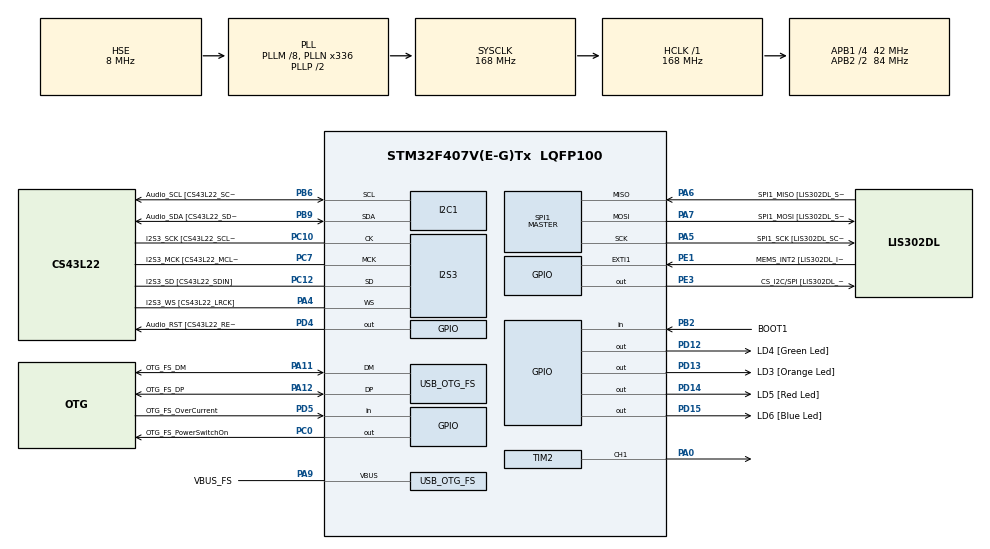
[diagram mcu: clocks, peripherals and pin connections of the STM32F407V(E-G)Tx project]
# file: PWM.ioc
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I2S3.AudioFreq-Half_Duplex_Master=I2S_AUDIOFREQ_96K
I2S3.ErrorAudioFreq=-2.34 %
I2S3.ErrorAudioFreq-Half_Duplex_Master=0.8 %
I2S3.FullDuplexMode=I2S_FULLDUPLEXMODE_DISABLE
I2S3.Instance=SPI$Index
I2S3.RealAudioFreq=93.75 KHz
I2S3.RealAudioFreq-Half_Duplex_Master=96.774 KHz
I2S3.VirtualMode=I2S_MODE_MASTER
Mcu.Family=STM32F4
Mcu.Name=STM32F407V(E-G)Tx
Mcu.Package=LQFP100
NVIC.OTG_FS_IRQn=true\:0\:0\:false\:false\:true\:true\:true\:true
NVIC.PriorityGroup=NVIC_PRIORITYGROUP_0
PA0-WKUP.Signal=S_TIM2_CH1_ETR
PA10.GPIO_Label=OTG_FS_ID
PA10.GPIO_Mode=GPIO_MODE_AF_PP
PA10.GPIO_PuPd=GPIO_NOPULL
PA10.GPIO_Speed=GPIO_SPEED_FREQ_LOW
PA10.Signal=USB_OTG_FS_ID
PA11.GPIO_Label=OTG_FS_DM
PA11.GPIO_Mode=GPIO_MODE_AF_PP
PA11.GPIO_PuPd=GPIO_NOPULL
PA11.GPIO_Speed=GPIO_SPEED_FREQ_LOW
PA11.Mode=Host_Only
PA11.Signal=USB_OTG_FS_DM
PA12.GPIO_Label=OTG_FS_DP
PA12.GPIO_Mode=GPIO_MODE_AF_PP
PA12.GPIO_PuPd=GPIO_NOPULL
PA12.GPIO_Speed=GPIO_SPEED_FREQ_LOW
PA12.Mode=Host_Only
PA12.Signal=USB_OTG_FS_DP
PA13.GPIO_Label=SWDIO
PA13.Mode=Serial_Wire
PA13.Signal=SYS_JTMS-SWDIO
PA14.GPIO_Label=SWCLK
PA14.Mode=Serial_Wire
PA14.Signal=SYS_JTCK-SWCLK
PA4.GPIO_Label=I2S3_WS [CS43L22_LRCK]
PA4.GPIO_Mode=GPIO_MODE_AF_PP
PA4.GPIO_PuPd=GPIO_NOPULL
PA4.GPIO_Speed=GPIO_SPEED_FREQ_LOW
PA4.Mode=Half_Duplex_Master
PA4.Signal=I2S3_WS
PA5.GPIO_Label=SPI1_SCK [LIS302DL_SCL/SPC]
PA5.GPIO_Mode=GPIO_MODE_AF_PP
PA5.GPIO_PuPd=GPIO_NOPULL
PA5.GPIO_Speed=GPIO_SPEED_FREQ_LOW
PA5.Mode=Full_Duplex_Master
PA5.Signal=SPI1_SCK
PA6.GPIO_Label=SPI1_MISO [LIS302DL_SDO]
PA6.GPIO_Mode=GPIO_MODE_AF_PP
PA6.GPIO_PuPd=GPIO_NOPULL
PA6.GPIO_Speed=GPIO_SPEED_FREQ_LOW
PA6.Mode=Full_Duplex_Master
PA6.Signal=SPI1_MISO
PA7.GPIO_Label=SPI1_MOSI [LIS302DL_SDA/SDI/SDO]
PA7.GPIO_Mode=GPIO_MODE_AF_PP
PA7.GPIO_PuPd=GPIO_NOPULL
PA7.GPIO_Speed=GPIO_SPEED_FREQ_LOW
PA7.Mode=Full_Duplex_Master
PA7.Signal=SPI1_MOSI
PA9.GPIO_Label=VBUS_FS
PA9.GPIO_Mode=GPIO_MODE_INPUT
PA9.GPIO_PuPd=GPIO_NOPULL
PA9.Mode=Activate_VBUS
PA9.Signal=USB_OTG_FS_VBUS
PB10.GPIO_Label=CLK_IN [MP45DT02_CLK]
PB10.GPIO_Mode=GPIO_MODE_AF_PP
PB10.GPIO_PuPd=GPIO_NOPULL
PB10.GPIO_Speed=GPIO_SPEED_FREQ_LOW
PB10.Signal=I2S2_CK
PB2.GPIO_Label=BOOT1
PB2.GPIO_Mode=GPIO_MODE_INPUT
PB2.GPIO_PuPd=GPIO_NOPULL
PB2.Signal=GPIO_Input
PB3.GPIO_Label=SWO
PB3.Signal=SYS_JTDO-SWO
PB6.GPIO_Label=Audio_SCL [CS43L22_SCL]
PB6.GPIO_Mode=GPIO_MODE_AF_OD
PB6.GPIO_Pu=GPIO_PULLUP
PB6.GPIO_PuPd=GPIO_NOPULL
PB6.GPIO_Speed=GPIO_SPEED_FREQ_LOW
PB6.Mode=I2C
PB6.Signal=I2C1_SCL
PB9.GPIO_Label=Audio_SDA [CS43L22_SDA]
PB9.GPIO_Mode=GPIO_MODE_AF_OD
PB9.GPIO_Pu=GPIO_PULLUP
PB9.GPIO_PuPd=GPIO_NOPULL
PB9.GPIO_Speed=GPIO_SPEED_FREQ_LOW
PB9.Mode=I2C
PB9.Signal=I2C1_SDA
PC0.GPIO_Label=OTG_FS_PowerSwitchOn
PC0.GPIO_PuPd=GPIO_NOPULL
PC0.GPIO_Speed=GPIO_SPEED_FREQ_LOW
PC0.PinState=GPIO_PIN_SET
PC0.Signal=GPIO_Output
PC10.GPIO_Label=I2S3_SCK [CS43L22_SCLK]
PC10.GPIO_Mode=GPIO_MODE_AF_PP
PC10.GPIO_PuPd=GPIO_NOPULL
PC10.GPIO_Speed=GPIO_SPEED_FREQ_LOW
PC10.Mode=Half_Duplex_Master
PC10.Signal=I2S3_CK
PC12.GPIO_Label=I2S3_SD [CS43L22_SDIN]
PC12.GPIO_Mode=GPIO_MODE_AF_PP
PC12.GPIO_PuPd=GPIO_NOPULL
PC12.GPIO_Speed=GPIO_SPEED_FREQ_LOW
PC12.Mode=Half_Duplex_Master
PC12.Signal=I2S3_SD
PC14-OSC32_IN.GPIO_Label=PC14-OSC32_IN
PC14-OSC32_IN.Mode=LSE-External-Oscillator
PC14-OSC32_IN.Signal=RCC_OSC32_IN
PC15-OSC32_OUT.GPIO_Label=PC15-OSC32_OUT
PC15-OSC32_OUT.Mode=LSE-External-Oscillator
PC15-OSC32_OUT.Signal=RCC_OSC32_OUT
PC3.GPIO_Label=PDM_OUT [MP45DT02_DOUT]
PC3.GPIO_Mode=GPIO_MODE_AF_PP
PC3.GPIO_PuPd=GPIO_NOPULL
PC3.GPIO_Speed=GPIO_SPEED_FREQ_LOW
PC3.Signal=I2S2_SD
PC7.GPIO_Label=I2S3_MCK [CS43L22_MCLK]
PC7.GPIO_Mode=GPIO_MODE_AF_PP
PC7.GPIO_PuPd=GPIO_NOPULL
PC7.GPIO_Speed=GPIO_SPEED_FREQ_LOW
PC7.Mode=Master_Clock_Activated
PC7.Signal=I2S3_MCK
PD12.GPIO_Label=LD4 [Green Led]
PD12.GPIO_PuPd=GPIO_NOPULL
PD12.GPIO_Speed=GPIO_SPEED_FREQ_LOW
PD12.Signal=GPIO_Output
PD13.GPIO_Label=LD3 [Orange Led]
PD13.GPIO_PuPd=GPIO_NOPULL
PD13.GPIO_Speed=GPIO_SPEED_FREQ_LOW
PD13.Signal=GPIO_Output
PD14.GPIO_Label=LD5 [Red Led]
PD14.GPIO_PuPd=GPIO_NOPULL
PD14.GPIO_Speed=GPIO_SPEED_FREQ_LOW
PD14.Signal=GPIO_Output
PD15.GPIO_Label=LD6 [Blue Led]
PD15.GPIO_PuPd=GPIO_NOPULL
PD15.GPIO_Speed=GPIO_SPEED_FREQ_LOW
PD15.Signal=GPIO_Output
PD4.GPIO_Label=Audio_RST [CS43L22_RESET]
PD4.GPIO_PuPd=GPIO_NOPULL
PD4.GPIO_Speed=GPIO_SPEED_FREQ_LOW
PD4.Signal=GPIO_Output
PD5.GPIO_Label=OTG_FS_OverCurrent
PD5.GPIO_Mode=GPIO_MODE_INPUT
PD5.GPIO_PuPd=GPIO_NOPULL
PD5.Signal=GPIO_Input
PE1.GPIO_Label=MEMS_INT2 [LIS302DL_INT2]
PE1.GPIO_ModeDefaultEXTI=GPIO_MODE_EVT_RISING
PE1.GPIO_PuPd=GPIO_NOPULL
PE1.Signal=GPXTI1
PE3.GPIO_Label=CS_I2C/SPI [LIS302DL_CS_I2C/SPI]
PE3.GPIO_PuPd=GPIO_NOPULL
PE3.GPIO_Speed=GPIO_SPEED_FREQ_LOW
PE3.Signal=GPIO_Output
PH0-OSC_IN.GPIO_Label=PH0-OSC_IN
PH0-OSC_IN.Mode=HSE-External-Oscillator
PH0-OSC_IN.Signal=RCC_OSC_IN
PH1-OSC_OUT.GPIO_Label=PH1-OSC_OUT
PH1-OSC_OUT.Mode=HSE-External-Oscillator
PH1-OSC_OUT.Signal=RCC_OSC_OUT
ProjectManager.HeapSize=0x200
ProjectManager.StackSize=0x400
ProjectManager.TargetToolchain=STM32CubeIDE
RCC.48MHZClocksFreq_Value=48000000
RCC.AHBFreq_Value=168000000
RCC.APB1CLKDivider=RCC_HCLK_DIV4
RCC.APB1Freq_Value=42000000
RCC.APB1TimFreq_Value=84000000
RCC.APB2CLKDivider=RCC_HCLK_DIV2
RCC.APB2Freq_Value=84000000
RCC.APB2TimFreq_Value=168000000
RCC.CortexFreq_Value=168000000
RCC.HCLKFreq_Value=168000000
RCC.HSE_VALUE=8000000
RCC.HSI_VALUE=16000000
RCC.PLLM=8
RCC.PLLN=336
RCC.PLLQ=7
RCC.SYSCLKFreq_VALUE=168000000
RCC.SYSCLKSource=RCC_SYSCLKSOURCE_PLLCLK
RCC.VCOOutputFreq_Value=336000000
SH.S_TIM2_CH1_ETR.0=TIM2_CH1,PWM Generation1 CH1
SPI1.BaudRatePrescaler-Full_Duplex_Master=SPI_BAUDRATEPRESCALER_2
SPI1.CalculateBaudRate-Full_Duplex_Master=42.0 MBits/s
SPI1.Direction=SPI_DIRECTION_2LINES
SPI1.Mode=SPI_MODE_MASTER
SPI1.Mode-Full_Duplex_Master=SPI_MODE_MASTER
SPI1.VirtualType=VM_MASTER
TIM2.AutoReloadPreload=TIM_AUTORELOAD_PRELOAD_ENABLE
TIM2.Channel-PWM\ Generation1\ CH1=TIM_CHANNEL_1
TIM2.Period=999
TIM2.Prescaler=83
USB_HOST.BSP.number=1
USB_HOST.USBH_HandleTypeDef-CDC_FS=hUsbHostFS
USB_HOST.VirtualModeFS=Cdc
USB_HOST0.BSP.STBoard=false
USB_HOST0.BSP.api=Unknown
USB_HOST0.BSP.instance=PC0
USB_HOST0.BSP.ip=GPIO
USB_HOST0.BSP.mode=Output
USB_HOST0.BSP.name=Drive_VBUS_FS
USB_HOST0.BSP.solution=PC0
USB_OTG_FS.VirtualMode=Host_Only
USB_OTG_FS.phy_itface=HCD_PHY_EMBEDDED
VP_TIM2_VS_ClockSourceINT.Mode=Internal
VP_USB_HOST_VS_USB_HOST_CDC_FS.Mode=CDC_FS
board=STM32F407G-DISC1

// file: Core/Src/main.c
/* USER CODE BEGIN Header */
/**
  ******************************************************************************
  * @file           : main.c
  * @brief          : Main program body
  ******************************************************************************
  * @attention
  *
  * Copyright (c) 2025 STMicroelectronics.
  * All rights reserved.
  *
  * This software is licensed under terms that can be found in the LICENSE file
  * in the root directory of this software component.
  * If no LICENSE file comes with this software, it is provided AS-IS.
  *
  ******************************************************************************
  */
/* USER CODE END Header */
#include "main.h"
#include "usb_host.h"

I2C_HandleTypeDef hi2c1;

I2S_HandleTypeDef hi2s3;

SPI_HandleTypeDef hspi1;

TIM_HandleTypeDef htim2;

void SystemClock_Config(void);
static void MX_GPIO_Init(void);
static void MX_I2C1_Init(void);
static void MX_I2S3_Init(void);
static void MX_SPI1_Init(void);
static void MX_TIM2_Init(void);
void MX_USB_HOST_Process(void);

int main(void)
{

  /* MCU Configuration--------------------------------------------------------*/

  /* Reset of all peripherals, Initializes the Flash interface and the Systick. */
  HAL_Init();

  /* Configure the system clock */
  SystemClock_Config();

  /* Initialize all configured peripherals */
  MX_GPIO_Init();
  MX_I2C1_Init();
  MX_I2S3_Init();
  MX_SPI1_Init();
  MX_USB_HOST_Init();
  MX_TIM2_Init();
  /* USER CODE BEGIN 2 */

  /* PWM başlatma */
  HAL_TIM_PWM_Start(&htim2, TIM_CHANNEL_1);

  uint16_t brightness = 0;
  uint8_t direction = 0;  // 0: artış, 1: azalış

  /* USER CODE END 2 */

  /* Infinite loop */
  while (1)
  {
    MX_USB_HOST_Process();

    /* USER CODE BEGIN 3 */
    // LED parlaklığını artır veya azalt
    if(direction==0){
    	brightness+=10;
    	if(brightness>=1000){
			brightness=1000;
			direction=1; // azalma yönüne geç
		}
     }else{
		brightness-=10;
		if(brightness<=0){
			brightness=0;
			direction=0; // artış yönüne geç
		}

		}
	// LED parlaklığını ayarla
	__HAL_TIM_SET_COMPARE(&htim2, TIM_CHANNEL_1, brightness);
	HAL_Delay(20);

  }
  /* USER CODE END 3 */
}

void SystemClock_Config(void)
{
  RCC_OscInitTypeDef RCC_OscInitStruct = {0};
  RCC_ClkInitTypeDef RCC_ClkInitStruct = {0};

  /** Configure the main internal regulator output voltage
  */
  __HAL_RCC_PWR_CLK_ENABLE();
  __HAL_PWR_VOLTAGESCALING_CONFIG(PWR_REGULATOR_VOLTAGE_SCALE1);

  /** Initializes the RCC Oscillators according to the specified parameters
  * in the RCC_OscInitTypeDef structure.
  */
  RCC_OscInitStruct.OscillatorType = RCC_OSCILLATORTYPE_HSE;
  RCC_OscInitStruct.HSEState = RCC_HSE_ON;
  RCC_OscInitStruct.PLL.PLLState = RCC_PLL_ON;
  RCC_OscInitStruct.PLL.PLLSource = RCC_PLLSOURCE_HSE;
  RCC_OscInitStruct.PLL.PLLM = 8;
  RCC_OscInitStruct.PLL.PLLN = 336;
  RCC_OscInitStruct.PLL.PLLP = RCC_PLLP_DIV2;
  RCC_OscInitStruct.PLL.PLLQ = 7;
  if (HAL_RCC_OscConfig(&RCC_OscInitStruct) != HAL_OK)
  {
    Error_Handler();
  }

  /** Initializes the CPU, AHB and APB buses clocks
  */
  RCC_ClkInitStruct.ClockType = RCC_CLOCKTYPE_HCLK|RCC_CLOCKTYPE_SYSCLK
                              |RCC_CLOCKTYPE_PCLK1|RCC_CLOCKTYPE_PCLK2;
  RCC_ClkInitStruct.SYSCLKSource = RCC_SYSCLKSOURCE_PLLCLK;
  RCC_ClkInitStruct.AHBCLKDivider = RCC_SYSCLK_DIV1;
  RCC_ClkInitStruct.APB1CLKDivider = RCC_HCLK_DIV4;
  RCC_ClkInitStruct.APB2CLKDivider = RCC_HCLK_DIV2;

  if (HAL_RCC_ClockConfig(&RCC_ClkInitStruct, FLASH_LATENCY_5) != HAL_OK)
  {
    Error_Handler();
  }
}

static void MX_I2C1_Init(void)
{

  hi2c1.Instance = I2C1;
  hi2c1.Init.ClockSpeed = 100000;
  hi2c1.Init.DutyCycle = I2C_DUTYCYCLE_2;
  hi2c1.Init.OwnAddress1 = 0;
  hi2c1.Init.AddressingMode = I2C_ADDRESSINGMODE_7BIT;
  hi2c1.Init.DualAddressMode = I2C_DUALADDRESS_DISABLE;
  hi2c1.Init.OwnAddress2 = 0;
  hi2c1.Init.GeneralCallMode = I2C_GENERALCALL_DISABLE;
  hi2c1.Init.NoStretchMode = I2C_NOSTRETCH_DISABLE;
  if (HAL_I2C_Init(&hi2c1) != HAL_OK)
  {
    Error_Handler();
  }

}

static void MX_I2S3_Init(void)
{

  hi2s3.Instance = SPI3;
  hi2s3.Init.Mode = I2S_MODE_MASTER_TX;
  hi2s3.Init.Standard = I2S_STANDARD_PHILIPS;
  hi2s3.Init.DataFormat = I2S_DATAFORMAT_16B;
  hi2s3.Init.MCLKOutput = I2S_MCLKOUTPUT_ENABLE;
  hi2s3.Init.AudioFreq = I2S_AUDIOFREQ_96K;
  hi2s3.Init.CPOL = I2S_CPOL_LOW;
  hi2s3.Init.ClockSource = I2S_CLOCK_PLL;
  hi2s3.Init.FullDuplexMode = I2S_FULLDUPLEXMODE_DISABLE;
  if (HAL_I2S_Init(&hi2s3) != HAL_OK)
  {
    Error_Handler();
  }

}

static void MX_SPI1_Init(void)
{

  /* SPI1 parameter configuration*/
  hspi1.Instance = SPI1;
  hspi1.Init.Mode = SPI_MODE_MASTER;
  hspi1.Init.Direction = SPI_DIRECTION_2LINES;
  hspi1.Init.DataSize = SPI_DATASIZE_8BIT;
  hspi1.Init.CLKPolarity = SPI_POLARITY_LOW;
  hspi1.Init.CLKPhase = SPI_PHASE_1EDGE;
  hspi1.Init.NSS = SPI_NSS_SOFT;
  hspi1.Init.BaudRatePrescaler = SPI_BAUDRATEPRESCALER_2;
  hspi1.Init.FirstBit = SPI_FIRSTBIT_MSB;
  hspi1.Init.TIMode = SPI_TIMODE_DISABLE;
  hspi1.Init.CRCCalculation = SPI_CRCCALCULATION_DISABLE;
  hspi1.Init.CRCPolynomial = 10;
  if (HAL_SPI_Init(&hspi1) != HAL_OK)
  {
    Error_Handler();
  }

}

static void MX_TIM2_Init(void)
{

  TIM_ClockConfigTypeDef sClockSourceConfig = {0};
  TIM_MasterConfigTypeDef sMasterConfig = {0};
  TIM_OC_InitTypeDef sConfigOC = {0};

  htim2.Instance = TIM2;
  htim2.Init.Prescaler = 83;
  htim2.Init.CounterMode = TIM_COUNTERMODE_UP;
  htim2.Init.Period = 999;
  htim2.Init.ClockDivision = TIM_CLOCKDIVISION_DIV1;
  htim2.Init.AutoReloadPreload = TIM_AUTORELOAD_PRELOAD_ENABLE;
  if (HAL_TIM_Base_Init(&htim2) != HAL_OK)
  {
    Error_Handler();
  }
  sClockSourceConfig.ClockSource = TIM_CLOCKSOURCE_INTERNAL;
  if (HAL_TIM_ConfigClockSource(&htim2, &sClockSourceConfig) != HAL_OK)
  {
    Error_Handler();
  }
  if (HAL_TIM_PWM_Init(&htim2) != HAL_OK)
  {
    Error_Handler();
  }
  sMasterConfig.MasterOutputTrigger = TIM_TRGO_RESET;
  sMasterConfig.MasterSlaveMode = TIM_MASTERSLAVEMODE_DISABLE;
  if (HAL_TIMEx_MasterConfigSynchronization(&htim2, &sMasterConfig) != HAL_OK)
  {
    Error_Handler();
  }
  sConfigOC.OCMode = TIM_OCMODE_PWM1;
  sConfigOC.Pulse = 0;
  sConfigOC.OCPolarity = TIM_OCPOLARITY_HIGH;
  sConfigOC.OCFastMode = TIM_OCFAST_DISABLE;
  if (HAL_TIM_PWM_ConfigChannel(&htim2, &sConfigOC, TIM_CHANNEL_1) != HAL_OK)
  {
    Error_Handler();
  }
  HAL_TIM_MspPostInit(&htim2);

}

static void MX_GPIO_Init(void)
{
  GPIO_InitTypeDef GPIO_InitStruct = {0};

  /* GPIO Ports Clock Enable */
  __HAL_RCC_GPIOE_CLK_ENABLE();
  __HAL_RCC_GPIOC_CLK_ENABLE();
  __HAL_RCC_GPIOH_CLK_ENABLE();
  __HAL_RCC_GPIOA_CLK_ENABLE();
  __HAL_RCC_GPIOB_CLK_ENABLE();
  __HAL_RCC_GPIOD_CLK_ENABLE();

  /*Configure GPIO pin Output Level */
  HAL_GPIO_WritePin(CS_I2C_SPI_GPIO_Port, CS_I2C_SPI_Pin, GPIO_PIN_RESET);

  /*Configure GPIO pin Output Level */
  HAL_GPIO_WritePin(OTG_FS_PowerSwitchOn_GPIO_Port, OTG_FS_PowerSwitchOn_Pin, GPIO_PIN_SET);

  /*Configure GPIO pin Output Level */
  HAL_GPIO_WritePin(GPIOD, LD4_Pin|LD3_Pin|LD5_Pin|LD6_Pin
                          |Audio_RST_Pin, GPIO_PIN_RESET);

  /*Configure GPIO pin : CS_I2C_SPI_Pin */
  GPIO_InitStruct.Pin = CS_I2C_SPI_Pin;
  GPIO_InitStruct.Mode = GPIO_MODE_OUTPUT_PP;
  GPIO_InitStruct.Pull = GPIO_NOPULL;
  GPIO_InitStruct.Speed = GPIO_SPEED_FREQ_LOW;
  HAL_GPIO_Init(CS_I2C_SPI_GPIO_Port, &GPIO_InitStruct);

  /*Configure GPIO pin : OTG_FS_PowerSwitchOn_Pin */
  GPIO_InitStruct.Pin = OTG_FS_PowerSwitchOn_Pin;
  GPIO_InitStruct.Mode = GPIO_MODE_OUTPUT_PP;
  GPIO_InitStruct.Pull = GPIO_NOPULL;
  GPIO_InitStruct.Speed = GPIO_SPEED_FREQ_LOW;
  HAL_GPIO_Init(OTG_FS_PowerSwitchOn_GPIO_Port, &GPIO_InitStruct);

  /*Configure GPIO pin : PDM_OUT_Pin */
  GPIO_InitStruct.Pin = PDM_OUT_Pin;
  GPIO_InitStruct.Mode = GPIO_MODE_AF_PP;
  GPIO_InitStruct.Pull = GPIO_NOPULL;
  GPIO_InitStruct.Speed = GPIO_SPEED_FREQ_LOW;
  GPIO_InitStruct.Alternate = GPIO_AF5_SPI2;
  HAL_GPIO_Init(PDM_OUT_GPIO_Port, &GPIO_InitStruct);

  /*Configure GPIO pin : BOOT1_Pin */
  GPIO_InitStruct.Pin = BOOT1_Pin;
  GPIO_InitStruct.Mode = GPIO_MODE_INPUT;
  GPIO_InitStruct.Pull = GPIO_NOPULL;
  HAL_GPIO_Init(BOOT1_GPIO_Port, &GPIO_InitStruct);

  /*Configure GPIO pin : CLK_IN_Pin */
  GPIO_InitStruct.Pin = CLK_IN_Pin;
  GPIO_InitStruct.Mode = GPIO_MODE_AF_PP;
  GPIO_InitStruct.Pull = GPIO_NOPULL;
  GPIO_InitStruct.Speed = GPIO_SPEED_FREQ_LOW;
  GPIO_InitStruct.Alternate = GPIO_AF5_SPI2;
  HAL_GPIO_Init(CLK_IN_GPIO_Port, &GPIO_InitStruct);

  /*Configure GPIO pins : LD4_Pin LD3_Pin LD5_Pin LD6_Pin
                           Audio_RST_Pin */
  GPIO_InitStruct.Pin = LD4_Pin|LD3_Pin|LD5_Pin|LD6_Pin
                          |Audio_RST_Pin;
  GPIO_InitStruct.Mode = GPIO_MODE_OUTPUT_PP;
  GPIO_InitStruct.Pull = GPIO_NOPULL;
  GPIO_InitStruct.Speed = GPIO_SPEED_FREQ_LOW;
  HAL_GPIO_Init(GPIOD, &GPIO_InitStruct);

  /*Configure GPIO pin : OTG_FS_OverCurrent_Pin */
  GPIO_InitStruct.Pin = OTG_FS_OverCurrent_Pin;
  GPIO_InitStruct.Mode = GPIO_MODE_INPUT;
  GPIO_InitStruct.Pull = GPIO_NOPULL;
  HAL_GPIO_Init(OTG_FS_OverCurrent_GPIO_Port, &GPIO_InitStruct);

  /*Configure GPIO pin : MEMS_INT2_Pin */
  GPIO_InitStruct.Pin = MEMS_INT2_Pin;
  GPIO_InitStruct.Mode = GPIO_MODE_EVT_RISING;
  GPIO_InitStruct.Pull = GPIO_NOPULL;
  HAL_GPIO_Init(MEMS_INT2_GPIO_Port, &GPIO_InitStruct);

}

void Error_Handler(void)
{
  __disable_irq();
  while (1)
  {
  }
}
